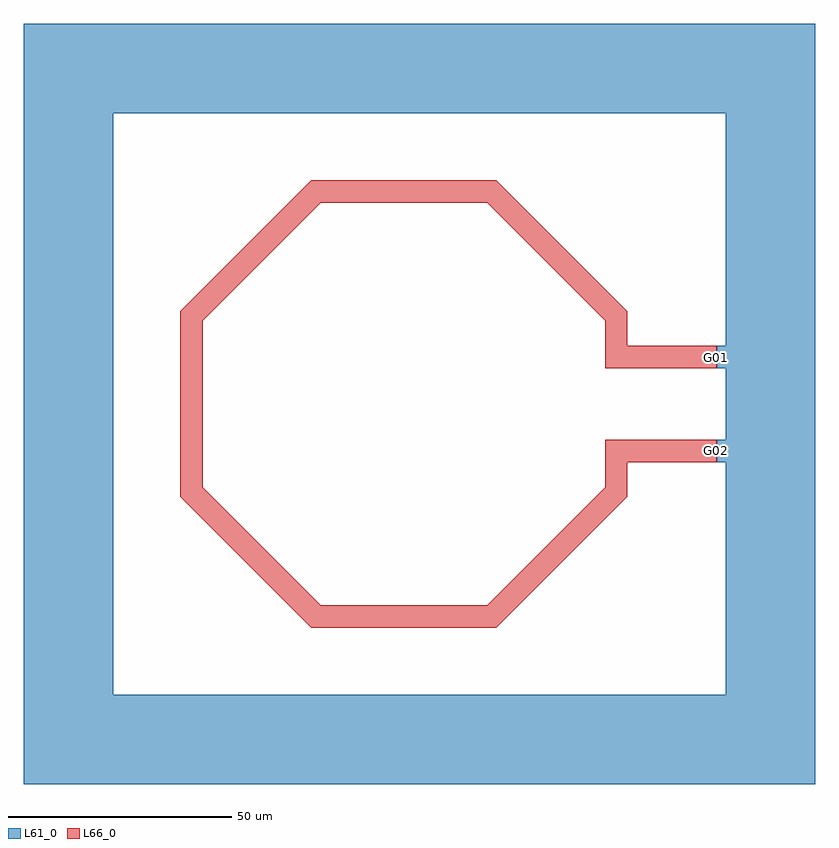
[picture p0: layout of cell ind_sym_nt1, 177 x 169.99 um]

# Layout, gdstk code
import gdstk
lib = gdstk.Library(unit=1e-6, precision=1e-09)
def R(c, l, rs):  # rectangles x0, y0, x1, y1
    for r in rs: c.add(gdstk.rectangle(r[:2], r[2:], *l))
def P(c, l, *ps):  # polygons
    for p in ps: c.add(gdstk.Polygon(p, *l))
L61_0 = (61, 0)
L66_0 = (66, 0)

ind_sym_nt1 = lib.new_cell('ind_sym_nt1')
R(ind_sym_nt1, L61_0, [(-85,-84.995,-65,84.995), (-65,-84.995,72,-64.995), (72,-84.995,92,84.995), (70,-13,72,-8), (70,8,72,13), (-65,64.995,72,84.995)])
R(ind_sym_nt1, L66_0, [(50,-13,70,-8), (50,8,70,13)])
P(ind_sym_nt1, L66_0, [(-50,0),(-50,20.705),(-20.71,49.995),(0,49.995),(0,44.995),(-18.63,44.995),(-45,18.625),(-45,0)],
  [(45,8),(45,18.625),(18.63,44.995),(0,44.995),(0,49.995),(20.71,49.995),(50,20.705),(50,8)],
  [(-20.71,-49.995),(-50,-20.705),(-50,0),(-45,0),(-45,-18.625),(-18.63,-44.995),(0,-44.995),(0,-49.995)],
  [(0,-49.995),(0,-44.995),(18.63,-44.995),(45,-18.625),(45,-8),(50,-8),(50,-20.705),(20.71,-49.995)])
ind_sym_nt1.add(gdstk.Label('G01', (70,10.5), layer=61, texttype=2))
ind_sym_nt1.add(gdstk.Label('G02', (70,-10.5), layer=61, texttype=2))
ind_sym_nt1.add(gdstk.Label('P1', (70,10.5), layer=66, texttype=2))
ind_sym_nt1.add(gdstk.Label('N1', (70,-10.5), layer=66, texttype=2))

lib.write_gds('ind_sym_nt1.gds')
